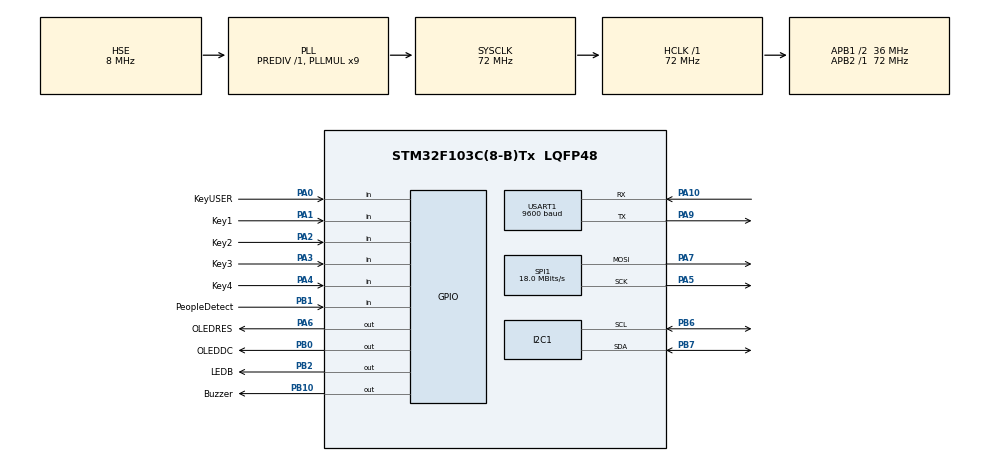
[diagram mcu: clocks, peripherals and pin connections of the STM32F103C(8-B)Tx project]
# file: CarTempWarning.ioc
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Mcu.Family=STM32F1
Mcu.Name=STM32F103C(8-B)Tx
Mcu.Package=LQFP48
NVIC.PriorityGroup=NVIC_PRIORITYGROUP_4
PA0-WKUP.GPIO_Label=KeyUSER
PA0-WKUP.Signal=GPIO_Input
PA1.GPIO_Label=Key1
PA1.GPIO_PuPd=GPIO_PULLUP
PA1.Signal=GPIO_Input
PA10.Mode=Asynchronous
PA10.Signal=USART1_RX
PA13.Mode=Serial_Wire
PA13.Signal=SYS_JTMS-SWDIO
PA14.Mode=Serial_Wire
PA14.Signal=SYS_JTCK-SWCLK
PA2.GPIO_Label=Key2
PA2.GPIO_PuPd=GPIO_PULLUP
PA2.Signal=GPIO_Input
PA3.GPIO_Label=Key3
PA3.GPIO_PuPd=GPIO_PULLUP
PA3.Signal=GPIO_Input
PA4.GPIO_Label=Key4
PA4.GPIO_PuPd=GPIO_PULLUP
PA4.Signal=GPIO_Input
PA5.Mode=TX_Only_Simplex_Unidirect_Master
PA5.Signal=SPI1_SCK
PA6.GPIO_Label=OLEDRES
PA6.GPIO_PuPd=GPIO_PULLUP
PA6.PinState=GPIO_PIN_RESET
PA6.Signal=GPIO_Output
PA7.Mode=TX_Only_Simplex_Unidirect_Master
PA7.Signal=SPI1_MOSI
PA9.Mode=Asynchronous
PA9.Signal=USART1_TX
PB0.GPIO_Label=OLEDDC
PB0.GPIO_PuPd=GPIO_PULLUP
PB0.Signal=GPIO_Output
PB1.GPIO_Label=PeopleDetect
PB1.GPIO_PuPd=GPIO_PULLUP
PB1.Signal=GPIO_Input
PB10.GPIO_Label=Buzzer
PB10.PinState=GPIO_PIN_SET
PB10.Signal=GPIO_Output
PB2.GPIO_Label=LEDB
PB2.Signal=GPIO_Output
PB6.Mode=I2C
PB6.Signal=I2C1_SCL
PB7.Mode=I2C
PB7.Signal=I2C1_SDA
PD0-OSC_IN.Mode=HSE-External-Oscillator
PD0-OSC_IN.Signal=RCC_OSC_IN
PD1-OSC_OUT.Mode=HSE-External-Oscillator
PD1-OSC_OUT.Signal=RCC_OSC_OUT
ProjectManager.HeapSize=0x200
ProjectManager.StackSize=0x400
ProjectManager.TargetToolchain=MDK-ARM V5.32
RCC.AHBFreq_Value=72000000
RCC.APB1CLKDivider=RCC_HCLK_DIV2
RCC.APB1Freq_Value=36000000
RCC.APB1TimFreq_Value=72000000
RCC.APB2Freq_Value=72000000
RCC.APB2TimFreq_Value=72000000
RCC.HCLKFreq_Value=72000000
RCC.PLLMUL=RCC_PLL_MUL9
RCC.PLLSourceVirtual=RCC_PLLSOURCE_HSE
RCC.SYSCLKFreq_VALUE=72000000
RCC.SYSCLKSource=RCC_SYSCLKSOURCE_PLLCLK
RCC.USBFreq_Value=72000000
SPI1.BaudRatePrescaler=SPI_BAUDRATEPRESCALER_4
SPI1.CalculateBaudRate=18.0 MBits/s
SPI1.Direction=SPI_DIRECTION_2LINES
SPI1.Mode=SPI_MODE_MASTER
SPI1.VirtualType=VM_MASTER
USART1.BaudRate=9600
USART1.VirtualMode=VM_ASYNC
board=custom

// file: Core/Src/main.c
/* USER CODE BEGIN Header */
/**
  ******************************************************************************
  * @file           : main.c
  * @brief          : Main program body
  ******************************************************************************
  * @attention
  *
  * Copyright (c) 2024 STMicroelectronics.
  * All rights reserved.
  *
  * This software is licensed under terms that can be found in the LICENSE file
  * in the root directory of this software component.
  * If no LICENSE file comes with this software, it is provided AS-IS.
  *
  ******************************************************************************
  */
/* USER CODE END Header */
#include "main.h"
#include "i2c.h"
#include "spi.h"
#include "usart.h"
#include "gpio.h"

/* USER CODE BEGIN Includes */
#include "oled.h"
#include "bmp280.h"
#include "stdlib.h"
#include "stdio.h"
#include "string.h"
#include "keyscan.h"

/* USER CODE END Includes */

/* USER CODE BEGIN PV */

//存储设置的温度
int32_t TsetYes = 28;
int32_t TsetNo = 30;
//存储检测的温度
float T = 0;
//用于存储转换成字符串的设置温度
char tempToSetYes[5];
char tempToSetNo[5];
//用于存储转换成字符串的检测温度
char tempToShow[6];

int t = 0;

int setFlag = 0;
int peopleFlag = 0;
/* USER CODE END PV */

void SystemClock_Config(void);
/* USER CODE BEGIN PFP */
void oledShowAll(void);
void tempWarning(void);
void KeyTask(int);
/* USER CODE END PFP */

int main(void)
{

  /* MCU Configuration--------------------------------------------------------*/

  /* Reset of all peripherals, Initializes the Flash interface and the Systick. */
  HAL_Init();

  /* Configure the system clock */
  SystemClock_Config();

  /* Initialize all configured peripherals */
  MX_GPIO_Init();
  MX_SPI1_Init();
  MX_USART1_UART_Init();
  MX_I2C1_Init();
  /* USER CODE BEGIN 2 */

	OLED_Init();
	OLED_DisPlay_On();
	OLED_ColorTurn(0);//0正常显示，1 反色显示
	OLED_DisplayTurn(0);//0正常显示 1 屏幕翻转显示
	OLED_Clear();
	OLED_Refresh();
	HAL_UART_Transmit(&huart1,(const uint8_t *)"OLED_InitOK",strlen("OLED_InitOK"),100);
	HAL_UART_Transmit(&huart1,(const uint8_t *)"\r\n",strlen("\r\n"),100);

	BMP280_InitALL();
	HAL_UART_Transmit(&huart1,(const uint8_t *)"BMP_InitOK",strlen("BMP_InitOK"),100);
	HAL_UART_Transmit(&huart1,(const uint8_t *)"\r\n",strlen("\r\n"),100);
	HAL_UART_Transmit(&huart1,(const uint8_t *)"SysStart\r\n",strlen("SysStart\r\n"),100);
  /* USER CODE END 2 */

  /* Infinite loop */
  /* USER CODE BEGIN WHILE */
  while (1)
  {
		KeyTask(keyScan());

		//运行模式
		if(setFlag == 0)
		{
			//光电传感器检测是否有人
			if(HAL_GPIO_ReadPin(PeopleDetect_GPIO_Port,PeopleDetect_Pin) == 0)
			{
					peopleFlag = 1;
			}
			else{peopleFlag = 0;}

			oledShowAll();

			t++;
			if(t >=5)
			{
				tempWarning();
				t = 0;
			}
		}

		//设置模式
		else if(setFlag == 1)
		{
			oledShowAll();

		}

    /* USER CODE END WHILE */

  }
}

void SystemClock_Config(void)
{
  RCC_OscInitTypeDef RCC_OscInitStruct = {0};
  RCC_ClkInitTypeDef RCC_ClkInitStruct = {0};

  /** Initializes the RCC Oscillators according to the specified parameters
  * in the RCC_OscInitTypeDef structure.
  */
  RCC_OscInitStruct.OscillatorType = RCC_OSCILLATORTYPE_HSE;
  RCC_OscInitStruct.HSEState = RCC_HSE_ON;
  RCC_OscInitStruct.HSEPredivValue = RCC_HSE_PREDIV_DIV1;
  RCC_OscInitStruct.HSIState = RCC_HSI_ON;
  RCC_OscInitStruct.PLL.PLLState = RCC_PLL_ON;
  RCC_OscInitStruct.PLL.PLLSource = RCC_PLLSOURCE_HSE;
  RCC_OscInitStruct.PLL.PLLMUL = RCC_PLL_MUL9;
  if (HAL_RCC_OscConfig(&RCC_OscInitStruct) != HAL_OK)
  {
    Error_Handler();
  }

  /** Initializes the CPU, AHB and APB buses clocks
  */
  RCC_ClkInitStruct.ClockType = RCC_CLOCKTYPE_HCLK|RCC_CLOCKTYPE_SYSCLK
                              |RCC_CLOCKTYPE_PCLK1|RCC_CLOCKTYPE_PCLK2;
  RCC_ClkInitStruct.SYSCLKSource = RCC_SYSCLKSOURCE_PLLCLK;
  RCC_ClkInitStruct.AHBCLKDivider = RCC_SYSCLK_DIV1;
  RCC_ClkInitStruct.APB1CLKDivider = RCC_HCLK_DIV2;
  RCC_ClkInitStruct.APB2CLKDivider = RCC_HCLK_DIV1;

  if (HAL_RCC_ClockConfig(&RCC_ClkInitStruct, FLASH_LATENCY_2) != HAL_OK)
  {
    Error_Handler();
  }
}

/* USER CODE BEGIN 4 */
void oledShowAll()
{
	//温度检测
		T = BMP280_GetTemperature()/100.0;
	//转换成字符串
		snprintf(tempToShow,sizeof(tempToShow),"%.2f",T);
		snprintf(tempToSetYes,sizeof(tempToSetYes),"%d",TsetYes);
		snprintf(tempToSetNo,sizeof(tempToSetNo),"%d",TsetNo);
	//OLED显示
		OLED_ShowString(0,0,(uint8_t *)"Mode:",16,1);
		if(setFlag == 0)
			OLED_ShowString(40,0,(uint8_t *)"Running",16,1);
		else
			OLED_ShowString(40,0,(uint8_t *)"Setting",16,1);

		OLED_ShowString(0,16,(uint8_t *)"People:",16,1);
		if(peopleFlag == 0)
			OLED_ShowString(56,16,(uint8_t *)"No ",16,1);
		else
			OLED_ShowString(56,16,(uint8_t *)"Yes",16,1);

		OLED_ShowString(0,32,(uint8_t *)"TempNow:",16,1);
		OLED_ShowString(64,32,(uint8_t*)tempToShow,16,1);
		OLED_ShowString(0,48,(uint8_t *)"TempSet:",16,1);
		if(peopleFlag == 0)
			OLED_ShowString(64,48,(uint8_t *)tempToSetNo,16,1);
		else
			OLED_ShowString(64,48,(uint8_t *)tempToSetYes,16,1);
	//刷新屏幕
		OLED_Refresh();

}

void tempWarning()
{
	//有人温度检测以及报警
		if(peopleFlag == 1)
		{
			if(T >= TsetYes)
			{
				snprintf(tempToShow,sizeof(tempToShow),"%.2f",T);
				snprintf(tempToSetYes,sizeof(tempToSetYes),"%d",TsetYes);
				HAL_GPIO_WritePin(Buzzer_GPIO_Port,Buzzer_Pin,GPIO_PIN_RESET);
				//发送串口消息
				HAL_UART_Transmit(&huart1, (const uint8_t *)"PersonInCar,TempWarning!!!Current:", strlen("PersonInCar,TempWarning!!!Current:"), 300);
				HAL_UART_Transmit(&huart1, (const uint8_t *)tempToShow, strlen(tempToShow), 300);
				HAL_UART_Transmit(&huart1, (const uint8_t *)"\r\nSetting:", strlen("\r\nSetting:"), 300);
				HAL_UART_Transmit(&huart1, (const uint8_t *)tempToSetYes, strlen(tempToSetYes), 300);
				HAL_UART_Transmit(&huart1, (const uint8_t *)"\r\n\r\n", strlen("\r\n\r\n"), 300);
			}
			else
			{
				HAL_GPIO_WritePin(Buzzer_GPIO_Port,Buzzer_Pin,GPIO_PIN_SET);
			}
		}

	//无人温度检测以及报警
		if(peopleFlag == 0)
		{
			if(T >= TsetNo)
			{
				snprintf(tempToShow,sizeof(tempToShow),"%.2f",T);
				snprintf(tempToSetNo,sizeof(tempToSetNo),"%d",TsetNo);
				HAL_GPIO_WritePin(Buzzer_GPIO_Port,Buzzer_Pin,GPIO_PIN_RESET);
				//发送串口消息
				HAL_UART_Transmit(&huart1, (const uint8_t *)"CarEmpty,TempWarning!!!Current:", strlen("CarEmpty,TempWarning!!!Current:"), 300);
				HAL_UART_Transmit(&huart1, (const uint8_t *)tempToShow, strlen(tempToShow), 300);
				HAL_UART_Transmit(&huart1, (const uint8_t *)"\r\nSetting:", strlen("\r\nSetting:"), 300);
				HAL_UART_Transmit(&huart1, (const uint8_t *)tempToSetNo, strlen(tempToSetNo), 300);
				HAL_UART_Transmit(&huart1, (const uint8_t *)"\r\n\r\n", strlen("\r\n\r\n"), 300);
			}
			else
			{
				HAL_GPIO_WritePin(Buzzer_GPIO_Port,Buzzer_Pin,GPIO_PIN_SET);
			}
		}
}

void KeyTask(int keynum)
{
	if(keynum == 1)
	{
		if(setFlag == 0)setFlag = 1;//进入设置
		else if(setFlag == 1)setFlag = 0;//退出设置
	}

	if(keynum == 2)
	{
		if(setFlag == 1)//判断是否已经进入设置
		{
			if(peopleFlag == 0)peopleFlag = 1;//进入有人温度设置
			else if(peopleFlag == 1)peopleFlag = 0;//进入无人温度设置
		}
	}

	if(keynum == 3)
	{
		if(setFlag == 1)//判断是否已经进入设置
		{
			if(peopleFlag == 0)TsetNo++;//无人温度设置
			else if(peopleFlag == 1)TsetYes++;//有人温度设置
		}
	}
	if(keynum == 4)
	{
		if(setFlag == 1)//判断是否已经进入设置
		{
			if(peopleFlag == 0)TsetNo--;//无人温度设置
			else if(peopleFlag == 1)TsetYes--;//有人温度设置
		}
	}

}

/* USER CODE END 4 */

void Error_Handler(void)
{
  __disable_irq();
  while (1)
  {
  }
}
